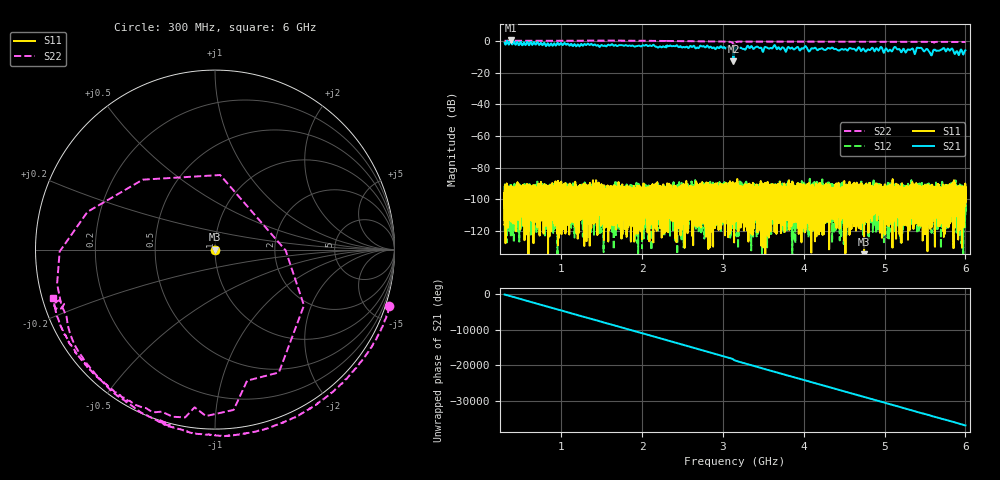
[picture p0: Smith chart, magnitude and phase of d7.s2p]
!Agilent Technologies,N5230C,SG49000117,A.08.50.07
!Agilent N5230C: A.08.50.07
!Date: Sunday, March 17, 2024 05:45:54
!Correction: S11(Off)
!S21(Off)
!S12(Off)
!S22(Full 1 Port(2))
!S2P File: Measurements: S11, S21, S12, S22:
# Hz S  RI  R 50
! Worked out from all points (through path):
!   20001 points, 300 MHz to 6 GHz, reference 50 ohm
!   highest |S21| = 0.44 dB at 373.5 MHz (marker M1); lowest = -12.7 dB at 3.131 GHz (marker M2)
!   lowest |S11| = -138.9 dB at 4.747 GHz (marker M3), VSWR 1.00, Z = 50 + j1.04e-05 ohm
!   |S11| at or under -10 dB: start of sweep to end of sweep
!   |S22| runs from -8.3 to 0.4 dB; largest |S21 - S12| = 1.1
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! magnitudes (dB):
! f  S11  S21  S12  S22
! 300 MHz  -97.2  -1.0  -95.4  0.2
! 373.5 MHz  -105.9  0.4  -97.7  0.2
! 1.25 GHz  -93.1  -1.8  -112.5  0.3
! 2.2 GHz  -112.7  -4.0  -94.0  0.2
! 3.074 GHz  -97.4  -3.8  -112.8  -0.4
! 3.131 GHz  -100.3  -12.7  -92.3  -5.3
! 3.15 GHz  -92.9  -4.4  -96.2  -2.1
! 3.181 GHz  -97.7  -3.7  -100.1  -0.3
! 3.328 GHz  -99.7  -4.3  -119.2  -0.3
! 3.483 GHz  -104.6  -5.1  -94.4  -0.3
! 3.632 GHz  -102.4  -2.8  -95.6  -0.3
! 3.771 GHz  -113.0  -6.1  -97.0  -0.3
! 4.1 GHz  -91.0  -4.5  -94.4  -0.3
! 4.747 GHz  -138.9  -5.3  -100.5  -0.3
! 5.05 GHz  -94.9  -6.4  -94.1  -0.4
! 5.134 GHz  -102.6  -3.8  -95.4  -0.4
! 5.368 GHz  -105.7  -7.6  -94.2  -0.4
! 5.428 GHz  -104.8  -4.4  -93.3  -0.4
! 5.571 GHz  -99.3  -8.2  -94.1  -0.5
! 5.718 GHz  -94.8  -4.8  -101.7  -0.5
! 5.895 GHz  -99.4  -6.3  -96.2  -0.5
! 6 GHz  -94.0  -5.8  -104.3  -0.5
